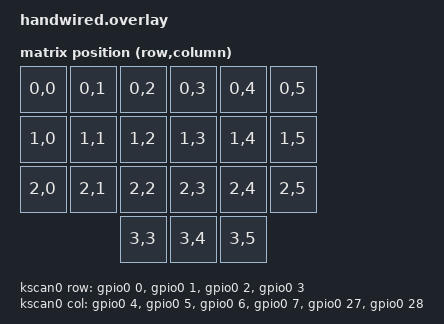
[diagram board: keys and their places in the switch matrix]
#include <dt-bindings/zmk/matrix_transform.h>

/ {
    chosen {
        zmk,kscan = &kscan0;
        zmk,matrix-transform = &default_transform;
    };

    default_transform: matrix_transform {
        compatible = "zmk,matrix-transform";
        columns = <6>;
        rows = <4>;
        map = <
            RC(0,0) RC(0,1) RC(0,2) RC(0,3) RC(0,4) RC(0,5)
            RC(1,0) RC(1,1) RC(1,2) RC(1,3) RC(1,4) RC(1,5)
            RC(2,0) RC(2,1) RC(2,2) RC(2,3) RC(2,4) RC(2,5)
                            RC(3,3) RC(3,4) RC(3,5)
        >;
    };

    kscan0: kscan_0 {
        compatible = "zmk,kscan-gpio-matrix";
        label = "KSCAN";
        diode-direction = "col2row";

        col-gpios
            = <&gpio0 4 GPIO_ACTIVE_HIGH>
            , <&gpio0 5 GPIO_ACTIVE_HIGH>
            , <&gpio0 6 GPIO_ACTIVE_HIGH>
            , <&gpio0 7 GPIO_ACTIVE_HIGH>
            , <&gpio0 27 GPIO_ACTIVE_HIGH>
            , <&gpio0 28 GPIO_ACTIVE_HIGH>
            ;

        row-gpios
            = <&gpio0 0 (GPIO_ACTIVE_HIGH | GPIO_PULL_DOWN)>
            , <&gpio0 1 (GPIO_ACTIVE_HIGH | GPIO_PULL_DOWN)>
            , <&gpio0 2 (GPIO_ACTIVE_HIGH | GPIO_PULL_DOWN)>
            , <&gpio0 3 (GPIO_ACTIVE_HIGH | GPIO_PULL_DOWN)>
            ;
    };
};
